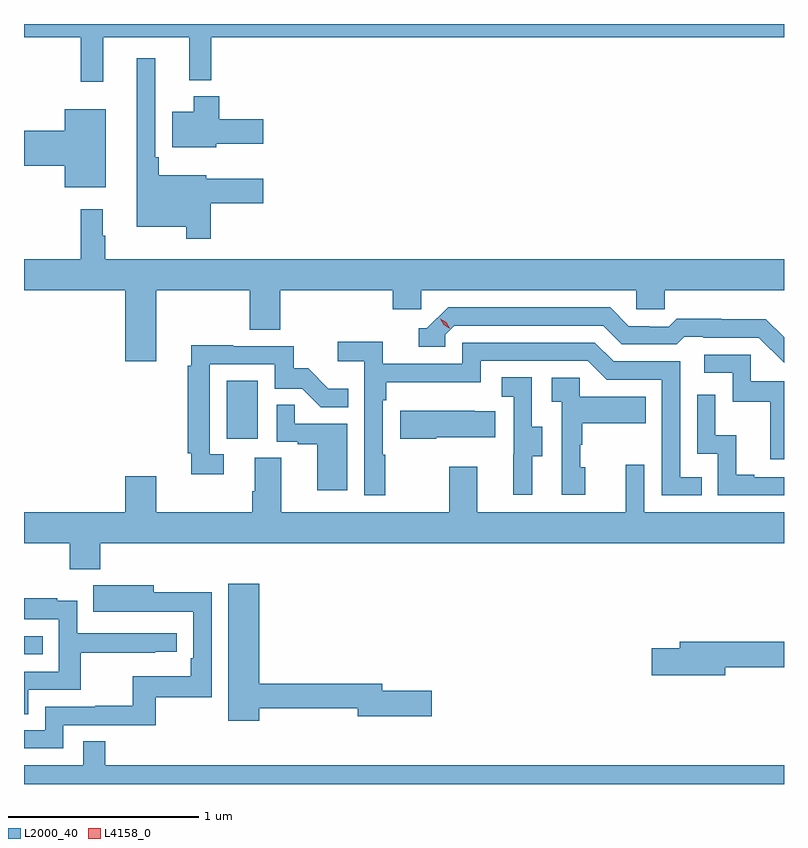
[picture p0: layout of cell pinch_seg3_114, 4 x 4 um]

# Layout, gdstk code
import gdstk
lib = gdstk.Library(unit=1e-6, precision=1e-09)
def R(c, l, rs):  # rectangles x0, y0, x1, y1
    for r in rs: c.add(gdstk.rectangle(r[:2], r[2:], *l))
def P(c, l, *ps):  # polygons
    for p in ps: c.add(gdstk.Polygon(p, *l))
L2000_40 = (2000, 40)
L4158_0 = (4158, 0)

pinch_seg3_114 = lib.new_cell('pinch_seg3_114')
R(pinch_seg3_114, L2000_40, [(1039.599,709.656,1039.697,709.752), (1040.666,710.79,1040.83,711.097)])
P(pinch_seg3_114, L2000_40, [(1040.015,712.904),(1040.468,712.904),(1040.468,712.679),(1040.585,712.679),(1040.585,712.904),(1043.599,712.904),(1043.599,712.974),(1039.599,712.974),(1039.599,712.904),(1039.897,712.904),(1039.897,712.671),(1040.015,712.671)],
  [(1040.582,712.03),(1040.857,712.03),(1040.857,712.159),(1040.559,712.159),(1040.559,712.177),(1040.309,712.177),(1040.309,712.273),(1040.289,712.273),(1040.289,712.795),(1040.192,712.795),(1040.192,711.908),(1040.454,711.908),(1040.454,711.843),(1040.582,711.843)],
  [(1040.61,712.343),(1040.857,712.343),(1040.857,712.473),(1040.627,712.473),(1040.627,712.594),(1040.492,712.594),(1040.492,712.513),(1040.378,712.513),(1040.378,712.325),(1040.61,712.325)],
  [(1040.029,712.525),(1039.814,712.525),(1039.814,712.412),(1039.599,712.412),(1039.599,712.229),(1039.814,712.229),(1039.814,712.115),(1040.029,712.115)],
  [(1040.296,711.572),(1040.788,711.572),(1040.788,711.364),(1040.948,711.364),(1040.948,711.572),(1041.539,711.572),(1041.539,711.474),(1041.69,711.474),(1041.69,711.572),(1042.821,711.572),(1042.821,711.474),(1042.971,711.474),(1042.971,711.572),(1043.599,711.572),(1043.599,711.736),(1040.026,711.736),(1040.026,711.86),(1040.014,711.86),(1040.014,712),(1039.897,712),(1039.897,711.736),(1039.599,711.736),(1039.599,711.572),(1040.132,711.572),(1040.132,711.198),(1040.296,711.198)],
  [(1043.599,711.326),(1043.504,711.421),(1043.268,711.421),(1043.268,711.424),(1043.035,711.424),(1042.993,711.381),(1042.89,711.381),(1042.89,711.384),(1042.783,711.384),(1042.684,711.483),(1041.831,711.483),(1041.72,711.372),(1041.677,711.372),(1041.677,711.276),(1041.816,711.276),(1041.816,711.339),(1041.864,711.387),(1042.647,711.387),(1042.746,711.288),(1043.035,711.288),(1043.074,711.327),(1043.173,711.327),(1043.173,711.324),(1043.466,711.324),(1043.599,711.191)],
  [(1041.499,710.708),(1041.486,710.708),(1041.486,710.993),(1041.506,710.993),(1041.506,711.089),(1042.002,711.089),(1042.002,711.201),(1042.566,711.201),(1042.665,711.102),(1042.956,711.102),(1042.956,710.493),(1043.165,710.493),(1043.165,710.589),(1043.052,710.589),(1043.052,711.198),(1042.702,711.198),(1042.603,711.297),(1041.906,711.297),(1041.906,711.186),(1041.488,711.186),(1041.488,711.302),(1041.249,711.302),(1041.249,711.2),(1041.39,711.2),(1041.39,710.493),(1041.499,710.493)],
  [(1040.65,710.709),(1040.577,710.709),(1040.577,711.183),(1040.919,711.183),(1040.919,711.054),(1041.063,711.054),(1041.161,710.956),(1041.305,710.956),(1041.305,711.055),(1041.201,711.055),(1041.094,711.162),(1041.018,711.162),(1041.018,711.279),(1040.699,711.279),(1040.699,711.284),(1040.48,711.284),(1040.48,711.176),(1040.461,711.176),(1040.461,710.716),(1040.48,710.716),(1040.48,710.604),(1040.65,710.604)],
  [(1043.599,711.093),(1043.424,711.093),(1043.424,711.234),(1043.18,711.234),(1043.18,711.138),(1043.328,711.138),(1043.328,710.985),(1043.527,710.985),(1043.527,710.682),(1043.599,710.682)],
  [(1042.273,710.698),(1042.327,710.698),(1042.327,710.853),(1042.272,710.853),(1042.272,711.116),(1042.113,711.116),(1042.113,711.013),(1042.176,711.013),(1042.176,710.709),(1042.175,710.709),(1042.175,710.496),(1042.273,710.496)],
  [(1042.552,710.64),(1042.527,710.64),(1042.527,710.759),(1042.537,710.759),(1042.537,710.873),(1042.871,710.873),(1042.871,711.013),(1042.524,711.013),(1042.524,711.111),(1042.377,711.111),(1042.377,710.987),(1042.428,710.987),(1042.428,710.496),(1042.552,710.496)],
  [(1043.599,710.589),(1043.443,710.589),(1043.443,710.602),(1043.348,710.602),(1043.348,710.81),(1043.238,710.81),(1043.238,711.022),(1043.142,711.022),(1043.142,710.712),(1043.25,710.712),(1043.25,710.493),(1043.599,710.493)],
  [(1041.301,710.871),(1041.023,710.871),(1041.023,710.969),(1040.928,710.969),(1040.928,710.775),(1041.039,710.775),(1041.039,710.763),(1041.143,710.763),(1041.143,710.52),(1041.301,710.52)],
  [(1041.769,710.798),(1042.079,710.798),(1042.079,710.935),(1041.971,710.935),(1041.971,710.938),(1041.578,710.938),(1041.578,710.791),(1041.769,710.791)],
  [(1040,710.24),(1043.599,710.24),(1043.599,710.404),(1042.863,710.404),(1042.863,710.653),(1042.766,710.653),(1042.766,710.404),(1041.985,710.404),(1041.985,710.644),(1041.838,710.644),(1041.838,710.404),(1040.953,710.404),(1040.953,710.69),(1040.813,710.69),(1040.813,710.516),(1040.801,710.516),(1040.801,710.404),(1040.296,710.404),(1040.296,710.593),(1040.132,710.593),(1040.132,710.404),(1039.599,710.404),(1039.599,710.24),(1039.84,710.24),(1039.84,710.105),(1040,710.105)],
  [(1040.836,709.374),(1041.356,709.374),(1041.356,709.331),(1041.745,709.331),(1041.745,709.466),(1041.484,709.466),(1041.484,709.502),(1040.836,709.502),(1040.836,710.029),(1040.675,710.029),(1040.675,709.308),(1040.836,709.308)],
  [(1039.806,709.284),(1040.293,709.284),(1040.293,709.431),(1040.586,709.431),(1040.586,709.982),(1040.281,709.982),(1040.281,710.02),(1039.963,710.02),(1039.963,709.88),(1040.177,709.88),(1040.177,709.881),(1040.49,709.881),(1040.49,709.636),(1040.477,709.636),(1040.477,709.54),(1040.172,709.54),(1040.172,709.385),(1039.975,709.385),(1039.975,709.38),(1039.71,709.38),(1039.71,709.257),(1039.599,709.257),(1039.599,709.161),(1039.806,709.161)],
  [(1039.621,709.47),(1039.898,709.47),(1039.898,709.666),(1040.291,709.666),(1040.291,709.671),(1040.404,709.671),(1040.404,709.767),(1039.878,709.767),(1039.878,709.939),(1039.775,709.939),(1039.775,709.951),(1039.599,709.951),(1039.599,709.842),(1039.782,709.842),(1039.782,709.566),(1039.599,709.566),(1039.599,709.342),(1039.621,709.342)],
  [(1043.29,709.588),(1043.599,709.588),(1043.599,709.724),(1043.051,709.724),(1043.051,709.688),(1042.902,709.688),(1042.902,709.546),(1043.29,709.546)],
  [(1043.599,709.072),(1040.027,709.072),(1040.027,709.199),(1039.911,709.199),(1039.911,709.072),(1039.599,709.072),(1039.599,708.974),(1043.599,708.974)])
P(pinch_seg3_114, L4158_0, [(1041.838,711.372),(1041.808,711.391),(1041.791,711.423),(1041.791,711.423),(1041.791,711.423),(1041.822,711.404),(1041.839,711.372),(1041.839,711.372)])

lib.write_gds('pinch_seg3_114.gds')
